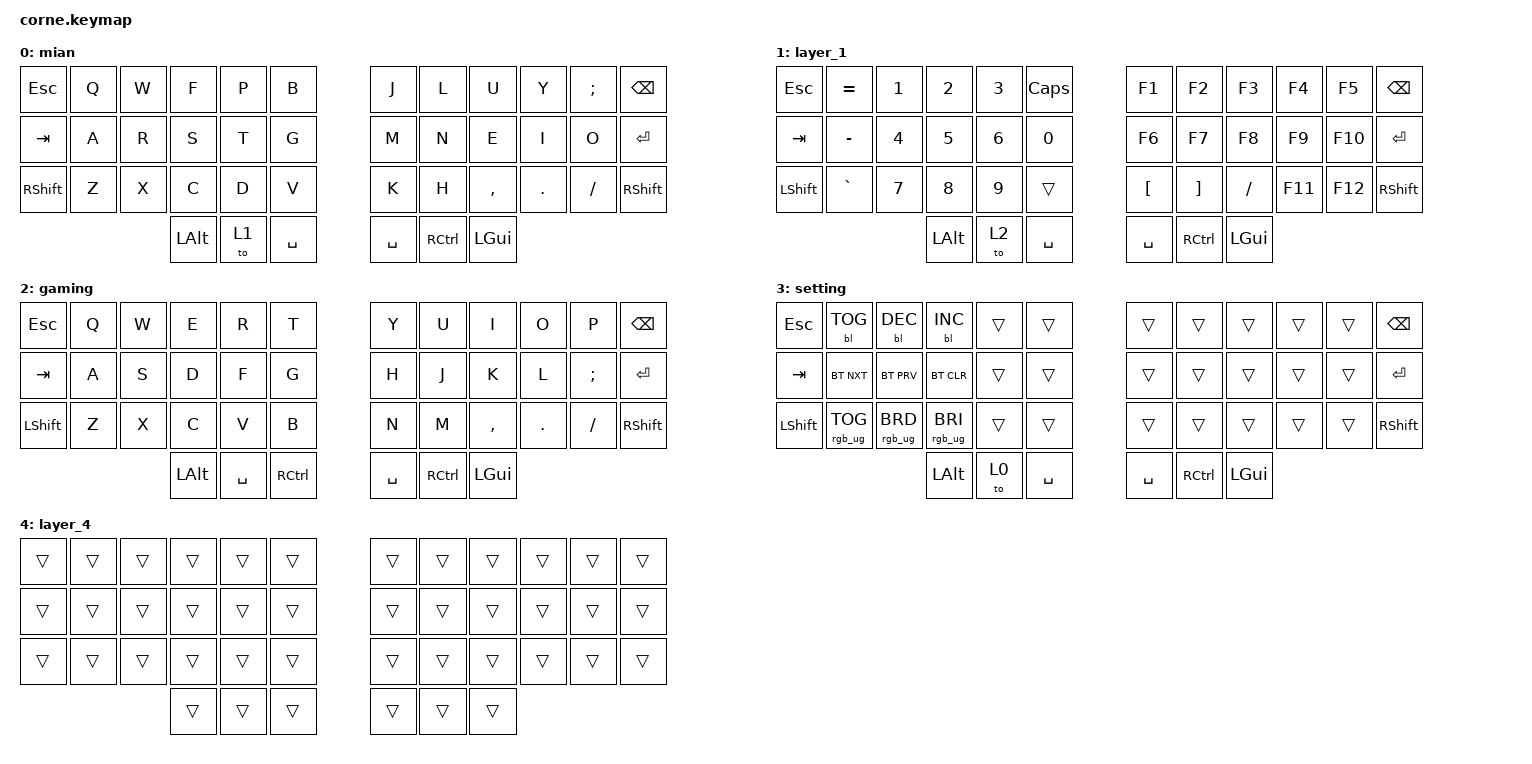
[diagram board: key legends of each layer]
/*
 * Copyright (c) 2020 The ZMK Contributors
 *
 * SPDX-License-Identifier: MIT
 */

#include <behaviors.dtsi>
#include <dt-bindings/zmk/backlight.h>
#include <dt-bindings/zmk/bt.h>
#include <dt-bindings/zmk/keys.h>
#include <dt-bindings/zmk/rgb.h>

/ {
    combos {
        compatible = "zmk,combos";

        to_layer_0 {
            bindings = <&to 0>;
            key-positions = <37 40>;
        };
    };

    keymap {
        compatible = "zmk,keymap";

        mian {
            bindings = <
&kp ESC    &kp Q  &kp W  &kp F     &kp P  &kp B        &kp J      &kp L      &kp U      &kp Y    &kp SEMI  &kp BSPC
&kp TAB    &kp A  &kp R  &kp S     &kp T  &kp G        &kp M      &kp N      &kp E      &kp I    &kp O     &kp ENTER
&kp RSHFT  &kp Z  &kp X  &kp C     &kp D  &kp V        &kp K      &kp H      &kp COMMA  &kp DOT  &kp FSLH  &kp RSHFT
                         &kp LALT  &to 1  &kp SPACE    &kp SPACE  &kp RCTRL  &kp LGUI
            >;
        };

        layer_1 {
            bindings = <
&kp ESC         &kp EQUAL  &kp N1  &kp N2    &kp N3  &kp CAPS     &kp F1     &kp F2     &kp F3    &kp F4   &kp F5   &kp BSPC
&kp TAB         &kp MINUS  &kp N4  &kp N5    &kp N6  &kp N0       &kp F6     &kp F7     &kp F8    &kp F9   &kp F10  &kp ENTER
&kp LEFT_SHIFT  &kp GRAVE  &kp N7  &kp N8    &kp N9  &trans       &kp LBKT   &kp RBKT   &kp FSLH  &kp F11  &kp F12  &kp RSHFT
                                   &kp LALT  &to 2   &kp SPACE    &kp SPACE  &kp RCTRL  &kp LGUI
            >;
        };

        gaming {
            bindings = <
&kp ESC    &kp Q  &kp W  &kp E     &kp R      &kp T        &kp Y      &kp U      &kp I      &kp O    &kp P     &kp BSPC
&kp TAB    &kp A  &kp S  &kp D     &kp F      &kp G        &kp H      &kp J      &kp K      &kp L    &kp SEMI  &kp ENTER
&kp LSHFT  &kp Z  &kp X  &kp C     &kp V      &kp B        &kp N      &kp M      &kp COMMA  &kp DOT  &kp FSLH  &kp RSHFT
                         &kp LALT  &kp SPACE  &kp RCTRL    &kp SPACE  &kp RCTRL  &kp LGUI
            >;
        };

        setting {
            bindings = <
&kp ESC    &bl BL_TOG       &bl BL_DEC       &bl BL_INC       &trans  &trans       &trans     &trans     &trans    &trans  &trans  &kp BSPC
&kp TAB    &bt BT_NXT       &bt BT_PRV       &bt BT_CLR       &trans  &trans       &trans     &trans     &trans    &trans  &trans  &kp ENTER
&kp LSHFT  &rgb_ug RGB_TOG  &rgb_ug RGB_BRD  &rgb_ug RGB_BRI  &trans  &trans       &trans     &trans     &trans    &trans  &trans  &kp RSHFT
                                             &kp LALT         &to 0   &kp SPACE    &kp SPACE  &kp RCTRL  &kp LGUI
            >;
        };

        layer_4 {
            bindings = <
&trans  &trans  &trans  &trans  &trans  &trans    &trans  &trans  &trans  &trans  &trans  &trans
&trans  &trans  &trans  &trans  &trans  &trans    &trans  &trans  &trans  &trans  &trans  &trans
&trans  &trans  &trans  &trans  &trans  &trans    &trans  &trans  &trans  &trans  &trans  &trans
                        &trans  &trans  &trans    &trans  &trans  &trans
            >;
        };
    };
};
